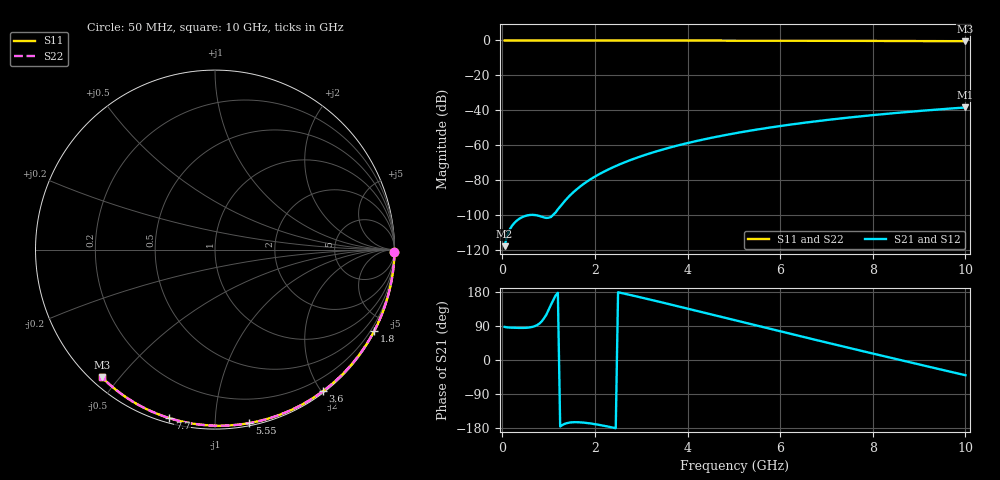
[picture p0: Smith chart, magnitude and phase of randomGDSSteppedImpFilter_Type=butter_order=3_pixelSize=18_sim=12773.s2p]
! freq	dB(S11)	phase(S11)	dB(S12)	phase(S12)
!  dB(S21)	phase(S21)	dB(S22)	phase(S22)
!S-par simulation data
#  GHz  S  DB  R 50
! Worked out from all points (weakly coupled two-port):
!   200 points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, 50 MHz to 10 GHz, reference 50 ohm
!   highest |S21| = -38.42 dB at 10 GHz (marker M1); lowest = -117.9 dB at 50 MHz (marker M2)
!   lowest |S11| = -0.4 dB at 10 GHz (marker M3), VSWR 39.07, Z = 1.54 - j22.5 ohm
!   |S11| at or under -10 dB: nowhere
!   |S22| runs from -0.4 to 0.0 dB; largest |S21 - S12| = 0
!   S11 on the Smith chart (normalised r, x): 50 MHz: open; 1.8 GHz: 0.04, -4.17; 3.6 GHz: 0.02, -2.02; 5.55 GHz: 0.02, -1.22; 7.7 GHz: 0.02, -0.76; 10 GHz: 0.03, -0.45
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0.05  -0.00 -0.8  -117.93 87.3  -117.93 87.3  -0.00 -0.8
0.9  -0.02 -13.6  -101.44 109.9  -101.44 109.9  -0.02 -13.6
1.75  -0.03 -26.2  -82.36 -165.1  -82.36 -165.1  -0.03 -26.2
1.8  -0.03 -27.0  -81.42 -165.8  -81.42 -165.8  -0.03 -27.0
1.85  -0.04 -27.7  -80.52 -166.5  -80.52 -166.5  -0.04 -27.7
1.9  -0.04 -28.4  -79.67 -167.4  -79.67 -167.4  -0.04 -28.4
2.05  -0.04 -30.6  -77.28 -170.3  -77.28 -170.3  -0.04 -30.6
2.25  -0.04 -33.5  -74.47 -174.9  -74.47 -174.9  -0.04 -33.5
2.45  -0.05 -36.4  -71.99 -179.9  -71.99 -179.9  -0.05 -36.4
2.65  -0.05 -39.3  -69.76 174.7  -69.76 174.7  -0.05 -39.3
3  -0.06 -44.3  -66.35 164.9  -66.35 164.9  -0.06 -44.3
3.4  -0.07 -49.9  -63.01 153.4  -63.01 153.4  -0.07 -49.9
3.6  -0.07 -52.7  -61.52 147.5  -61.52 147.5  -0.07 -52.7
4.3  -0.09 -62.3  -57.01 126.6  -57.01 126.6  -0.09 -62.3
5.05  -0.11 -72.3  -53.09 104.2  -53.09 104.2  -0.11 -72.3
5.55  -0.13 -78.8  -50.85 89.2  -50.85 89.2  -0.13 -78.8
6.1  -0.15 -85.7  -48.68 72.8  -48.68 72.8  -0.15 -85.7
6.7  -0.18 -93.1  -46.58 55.0  -46.58 55.0  -0.18 -93.1
7.7  -0.24 -105.2  -43.59 25.7  -43.59 25.7  -0.24 -105.2
8.35  -0.29 -112.8  -41.92 6.9  -41.92 6.9  -0.29 -112.8
9.15  -0.36 -121.9  -40.11 -16.0  -40.11 -16.0  -0.36 -121.9
10  -0.44 -131.6  -38.42 -40.2  -38.42 -40.2  -0.44 -131.6
